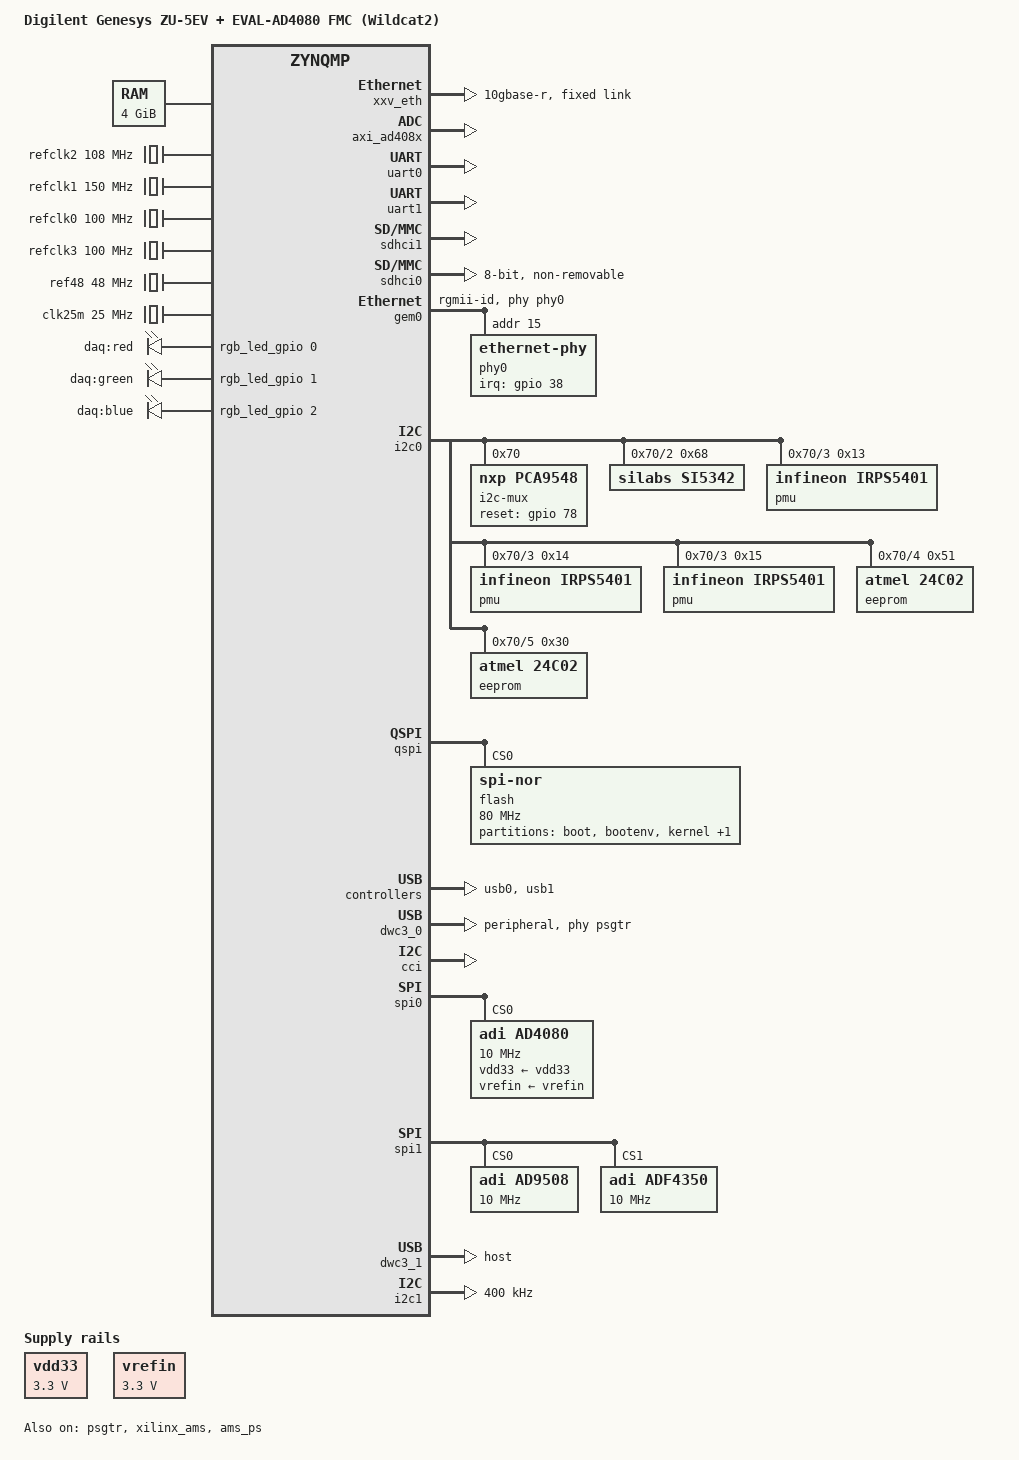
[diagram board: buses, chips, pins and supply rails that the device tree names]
// SPDX-License-Identifier: GPL-2.0
/*
 * Analog Devices AD4080 (EVAL-AD4080-FMC) on Digilent Genesys ZU-5EV
 * (Zynq UltraScale+ XCZU5EV). Wildcat2 board.
 * https://www.analog.com/en/products/ad4080.html
 * https://www.analog.com/eval-ad4080-fmc
 *
 * hdl_project: <ad4080_fmc_evb/genesys_zu5ev>  (local port, not in upstream ADI hdl)
 *
 * Derived from zynqmp-genesys-zu-5ev-ad7383-4.dts: the carrier + backhaul
 * (10G SFP+, USB, si5342, RGB LED, 30 MHz PS_REF_CLK, CCI) are reused; the ADC
 * datapath is the AD4080 LVDS capture (axi_ad408x IIO backend + axi_dmac),
 * controlled over PS SPI0, with the conversion clock from the eval AD9508/ADF4350.
 *
 * PL peripherals use the 0x80xxxxxx aperture (this carrier reaches the PL via
 * M_AXI_HPM0_LPD, whose window is 0x8000_0000..0x9FFF_FFFF). Must match the
 * ad4080_fmc_evb_genesys_zu5ev HDL system_bd.tcl.
 *
 * Copyright (C) 2026 Analog Devices Inc.
 */
/dts-v1/;

#include "zynqmp.dtsi"
#include "zynqmp-clk-ccf.dtsi"
#include <dt-bindings/interrupt-controller/irq.h>
#include <dt-bindings/gpio/gpio.h>
#include <dt-bindings/net/ti-dp83867.h>
#include <dt-bindings/phy/phy.h>

/ {
	model = "Digilent Genesys ZU-5EV + EVAL-AD4080 FMC (Wildcat2)";
	compatible = "digilent,genesys-zu-5ev", "xlnx,zynqmp";

	aliases {
		ethernet0 = &gem0;
		serial0 = &uart0;
		serial1 = &uart1;
		mmc0 = &sdhci0; /* eMMC */
		mmc1 = &sdhci1; /* microSD */
		spi0 = &qspi;
	};

	chosen {
		bootargs = "earlycon console=ttyPS0,115200 root=/dev/mmcblk1p2 rw rootwait cma=512M";
		stdout-path = "serial0:115200n8";
	};

	memory@0 {
		device_type = "memory";
		reg = <0x0 0x0 0x0 0x80000000>, <0x8 0x0 0x0 0x80000000>;
	};

	refclk2: psgtr_dp_clock {
		compatible = "fixed-clock";
		#clock-cells = <0x00>;
		clock-frequency = <108000000>;
	};
	refclk1: psgtr_sata_clock {
		compatible = "fixed-clock";
		#clock-cells = <0x00>;
		clock-frequency = <150000000>;
	};
	refclk0: psgtr_pcie_usb30_clock {
		compatible = "fixed-clock";
		#clock-cells = <0x00>;
		clock-frequency = <100000000>;
	};
	refclk3: psgtr_usb30_clock {
		compatible = "fixed-clock";
		#clock-cells = <0x00>;
		clock-frequency = <100000000>;
	};
	ref48: ref48M {
		compatible = "fixed-clock";
		#clock-cells = <0x00>;
		clock-frequency = <48000000>;
	};

	/* AD4080 supplies (from FMC rails). vdd33 + vrefin are the mandatory
	 * regulators in the ad4080 binding. */
	vdd33: ad4080-vdd33-regulator {
		compatible = "regulator-fixed";
		regulator-name = "AD4080 VDD33 (FMC +3.3V)";
		regulator-min-microvolt = <3300000>;
		regulator-max-microvolt = <3300000>;
		regulator-always-on;
	};

	vrefin: ad4080-vrefin-regulator {
		compatible = "regulator-fixed";
		regulator-name = "AD4080 VREFIN";
		regulator-min-microvolt = <3300000>;
		regulator-max-microvolt = <3300000>;
		regulator-always-on;
	};

	/* Y1 on the EVAL-AD4080-FMC: 25 MHz TCXO (ECS-TXO-2016-33-250, 2 ppm),
	 * gated by OSC_EN, which system_top.v ties to PWRGD so it comes up with the
	 * board. This is the ADF4350 reference. */
	clk25m: clk25m-tcxo {
		compatible = "fixed-clock";
		#clock-cells = <0>;
		clock-frequency = <25000000>;
		clock-output-names = "clk25m";
	};
};

&uart0 { status = "okay"; };
&uart1 { status = "okay"; };

&psgtr {
	status = "okay";
	clocks = <&refclk0>, <&refclk1>, <&refclk2>, <&refclk3>;
	clock-names = "ref0", "ref1", "ref2", "ref3";
};

&sdhci1 {
	status = "okay";
	disable-wp;
	no-1-8-v;
	xlnx,itap-delay-sd-hsd = <0x29>;
	xlnx,itap-delay-sd-ddr50 = <0x32>;
	xlnx,itap-delay-sdr25 = <0x2A>;
	xlnx,itap-delay-sdr50 = <0x1E>;
	xlnx,itap-delay-sdr104 = <0x0B>;
};

&sdhci0 {
	status = "okay";
	non-removable;
	bus-width = <8>;
};

&gem0 {
	status = "okay";
	phy-handle = <&phy0>;
	phy-mode = "rgmii-id";
	#address-cells = <1>;
	#size-cells = <0>;
	phy0: ethernet-phy@f {
		reg = <0xF>;
		reset-assert-us = <1>;
		reset-deassert-us = <200>;
		interrupt-parent = <&gpio>;
		interrupts = <38 IRQ_TYPE_LEVEL_LOW>;
		ti,rx-internal-delay = <DP83867_RGMIIDCTL_2_00_NS>;
		ti,tx-internal-delay = <DP83867_RGMIIDCTL_1_50_NS>;
		ti,fifo-depth = <DP83867_PHYCR_FIFO_DEPTH_4_B_NIB>;
		ti,clk-output-sel = <DP83867_CLK_O_SEL_REF_CLK>;
	};
};

&i2c0 {
	status = "okay";
	i2c-mux@70 {
		compatible = "nxp,pca9548";
		#address-cells = <1>;
		#size-cells = <0>;
		reg = <0x70>;
		reset-gpios = <&gpio 78 GPIO_ACTIVE_HIGH>;
		i2c-mux-idle-disconnect;

		i2c@0 { #address-cells = <1>; #size-cells = <0>; reg = <0>; };
		i2c@1 { #address-cells = <1>; #size-cells = <0>; reg = <1>; };
		i2c@2 {
			#address-cells = <1>;
			#size-cells = <0>;
			reg = <2>;
			/* Si5342 -> 156.25 MHz GT refclk for the 10G SFP+ */
			si5342: clock-generator@68 {
				compatible = "silabs,si5342";
				reg = <0x68>;
				#clock-cells = <2>;
				#address-cells = <1>;
				#size-cells = <0>;
				clocks = <&ref48>;
				clock-names = "xtal";
				silabs,iovdd-33;
				si5342_out0: out@0 { reg = <0>; always-on; };
				si5342_out1: out@1 { reg = <1>; always-on; };
			};
		};
		i2c@3 {
			#address-cells = <1>;
			#size-cells = <0>;
			reg = <3>;
			pmu@13 { compatible = "infineon,irps5401"; reg = <0x13>; };
			pmu@14 { compatible = "infineon,irps5401"; reg = <0x14>; };
			pmu@15 { compatible = "infineon,irps5401"; reg = <0x15>; };
		};
		i2c@4 {
			#address-cells = <1>;
			#size-cells = <0>;
			reg = <4>;
			eeprom@51 { /* FMC VITA 57.1 FRU */
				compatible = "atmel,24c02";
				reg = <0x51>;
				pagesize = <1>;
			};
		};
		i2c@5 {
			#address-cells = <1>;
			#size-cells = <0>;
			reg = <5>;
			eeprom@30 { /* SYZYGY DNA */
				compatible = "atmel,24c02";
				reg = <0x30>;
				read-only;
				address-width = <16>;
				size = <65536>;
			};
		};
		i2c@6 { #address-cells = <1>; #size-cells = <0>; reg = <6>; };
		i2c@7 { #address-cells = <1>; #size-cells = <0>; reg = <7>; };
	};
};

&qspi {
	status = "okay";
	flash@0 {
		compatible = "jedec,spi-nor";
		reg = <0>;
		spi-max-frequency = <80000000>;
		spi-tx-bus-width = <1>;
		spi-rx-bus-width = <1>;
		partitions {
			compatible = "fixed-partitions";
			#address-cells = <1>;
			#size-cells = <1>;
			partition@0 { label = "boot"; reg = <0x00000000 0x00100000>; };
			partition@1 { label = "bootenv"; reg = <0x00100000 0x00040000>; };
			partition@2 { label = "kernel"; reg = <0x00140000 0x01600000>; };
			partition@3 { label = "board-id"; reg = <0x1FFF000 0x1000>; read-only; };
		};
	};
};

&usb0 {
	status = "okay";
	xlnx,tz-nonsecure = <1>;
	xlnx,usb-polarity = <0>;
	xlnx,usb-reset-mode = <0>;
};

&dwc3_0 {
	status = "okay";
	dr_mode = "peripheral";
	snps,usb3_lpm_capable;
	phy-names = "usb3-phy";
	phys = <&psgtr 1 PHY_TYPE_USB3 0 0>;
	snps,dis_u2_susphy_quirk;
	snps,dis_u3_susphy_quirk;
	maximum-speed = "super-speed";
	tx-fifo-resize;
};

/* PL peripherals (ad4080_fmc_evb_genesys_zu5ev HDL project). 0x80xxxxxx = the
 * M_AXI_HPM0_LPD aperture on this carrier. Addresses match system_bd.tcl. */
/ {
	fpga_axi: fpga-axi@0 {
		interrupt-parent = <&gic>;
		compatible = "simple-bus";
		#address-cells = <0x1>;
		#size-cells = <0x1>;
		ranges = <0 0 0 0xffffffff>;

		/* 10G Ethernet over SFP+ : xxv_ethernet MAC + axi_mcdma (reused). */
		eth_mcdma: dma@80020000 {
			compatible = "xlnx,eth-dma";
			reg = <0x80020000 0x10000>;
			xlnx,addrwidth = <0x20>;
			xlnx,include-dre;
		};

		xxv_eth: ethernet@80060000 {
			compatible = "xlnx,xxv-ethernet-1.0";
			reg = <0x80060000 0x10000>;
			device_type = "network";
			axistream-connected = <&eth_mcdma>;
			xlnx,num-queues = /bits/ 16 <1>;
			xlnx,channel-ids = "1";
			interrupt-parent = <&gic>;
			interrupts = <0 106 IRQ_TYPE_LEVEL_HIGH>,
				     <0 107 IRQ_TYPE_LEVEL_HIGH>;
			interrupt-names = "mm2s_ch1_introut", "s2mm_ch1_introut";
			local-mac-address = [00 0a 35 05 a1 10];
			max-speed = <10000>;
			phy-mode = "10gbase-r";
			xlnx,rxmem = <0x6000>;
			xlnx,txcsum = <1>;
			xlnx,rxcsum = <0>;
			fixed-link {
				speed = <10000>;
				full-duplex;
			};
		};

		/* AD4080 RX DMA (axi_dmac). On S_AXI_HP0 (non-coherent), so NO
		 * dma-coherent here (unlike the 10G HPC0 path). */
		rx_dma: dma-controller@80000000 {
			compatible = "adi,axi-dmac-1.00.a";
			reg = <0x80000000 0x1000>;
			#dma-cells = <1>;
			interrupts = <0 109 IRQ_TYPE_LEVEL_HIGH>; /* ps-13 */
			clocks = <&zynqmp_clk 71>;
		};

		/* AD4080 capture IP = IIO backend (adi-axi-adc.c binds adi,axi-ad408x). */
		axi_ad408x: axi-adc@80010000 {
			compatible = "adi,axi-ad408x";
			reg = <0x80010000 0x10000>;
			dmas = <&rx_dma 0>;
			dma-names = "rx";
			clocks = <&zynqmp_clk 71>;
			#io-backend-cells = <0>;
		};

		/* clock monitor (DCO + 100 MHz ref) -- diagnostic. */
		ad4080_clock_monitor: clock-monitor@80050000 {
			compatible = "adi,axi-clock-monitor-1.00.a";
			reg = <0x80050000 0x10000>;
			clocks = <&zynqmp_clk 71>;
			clock-names = "s_axi_aclk";
		};

		rgb_led_gpio: gpio@80080000 {
			compatible = "xlnx,axi-gpio-2.0", "xlnx,xps-gpio-1.00.a";
			reg = <0x80080000 0x1000>;
			#gpio-cells = <2>;
			gpio-controller;
			xlnx,all-inputs = <0x0>;
			xlnx,all-outputs = <0x1>;
			xlnx,gpio-width = <0x3>;
			xlnx,is-dual = <0x0>;
			clocks = <&zynqmp_clk 71>;
		};
	};
};

/* PS_REF_CLK crystal is 30 MHz on this board. */
&pss_ref_clk {
	clock-frequency = <30000000>;
};

/* CCI-400 for the coherent HPC0 10G DMA path. */
&cci {
	status = "okay";
};

/*
 * PS SPI0 (EMIO) -> AD4080 register control on the FMC card. In the AD7383
 * design SPI0 carried the on-board MCP23S08 gpio-expander + WiFi; on Wildcat2
 * the HDL routes EMIO SPI0 to the FMC AD4080 instead, so those are removed here.
 * USB PHY/hub resets are programmed by the Digilent FSBL at boot (they were the
 * gpioexp hogs), so USB still enumerates; on-board WiFi (ATWINC1500) is unusable
 * on Linux anyway -- use a USB adapter.
 */
&spi0 {
	status = "okay";
	#address-cells = <1>;
	#size-cells = <0>;

	ad4080: adc@0 {
		compatible = "adi,ad4080";
		reg = <0>;
		spi-max-frequency = <10000000>;
		spi-cpol;
		spi-cpha;

		/* AD9508 OUT2 = CNV_P/N, 32.768 MHz (327.68 / 10) */
		clocks = <&ad9508 2>;
		clock-names = "cnv";

		io-backends = <&axi_ad408x>;

		adi,num-lanes = <2>;

		/* The eval board drives CNV differentially, from AD9508 OUT2 on
		 * CNV_P/CNV_N, but the AD4080 powers up with CNV in CMOS mode.
		 * This property is what makes the driver set LVDS_CNV_EN, program
		 * LVDS_CNV_CLK_CNT and -- critically -- run the lane alignment:
		 * all three sit behind the same guard, so without it the part
		 * ignores the differential CNV AND the lanes are never trained,
		 * with nothing in the logs pointing at the cause. */
		adi,lvds-cnv-enable;

		vdd33-supply = <&vdd33>;
		vrefin-supply = <&vrefin>;
	};
};

/*
 * PS SPI1 (EMIO) -> eval AD9508 clock fanout + ADF4350 PLL (the CNV clock
 * generator). Left disabled for initial bring-up (ad4080_cnv_clk is modelled as
 * a fixed-clock above). TODO: add adi,ad9508 + adi,adf4350 nodes and switch the
 * ad4080 "cnv" clock to the real AD9508 output once the clock chain is verified.
 */
/* EVAL-AD4080-FMC precision clock generation/distribution (schematic sheet 8),
 * on PS SPI1 via EMIO. Chip selects follow system_top.v:
 *   ad9508_csn  = spi1_csn[0]
 *   adf4350_csn = spi1_csn[1]
 * SCLK/MOSI/MISO are shared between the two devices.
 *
 * Chain: Y1 25 MHz TCXO -> ADF4350 RFOUTA+/- -> AD9508 CLK (differential input;
 * IN_SEL is tied high on the eval board) -> OUT0 FPGACLK to FMC CLK1_M2C,
 * OUT2 CNV (40 MHz max), OUT3 CLK (400 MHz max). OUT1 is unused.
 *
 * WildCat2 operating point:
 *   ADF4350 = 327.68 MHz EXACTLY. With a 25 MHz PFD and adi,channel-spacing of
 *   40 kHz the driver computes MOD = 25e6/40e3 = 625, giving INT 104, FRAC 536
 *   and an RF divider of 8: 25 MHz x (104 + 536/625) / 8 = 327.68 MHz with no
 *   frequency error, which the power-of-two FFT frame requires.
 *   AD9508 OUT3 /1  = 327.68 MHz  -> LVDS interface clock (20-bit single-lane
 *                                    DDR needs 10 x fS)
 *   AD9508 OUT2 /10 = 32.768 MHz  -> CNV
 *   AD4080 sinc5+comp at total decimation 8 -> 4.096 MSPS output.
 *
 * CLK and CNV leave the SAME device from matched integer dividers, so their
 * relative phase is deterministic and the +/-535 ps tCCA alignment is structural
 * rather than trimmed.
 *
 * NOTE the ADF4350 is a fractional-N synthesiser with an integrated VCO and is
 * NOT a low-jitter source; expect it to dominate SNR at 1.6 MHz. The eval board
 * provides an external-clock injection path (R65/R68, fitted DNI) for a proper
 * low-phase-noise source when that measurement is made.
 */
&spi1 {
	status = "okay";
	#address-cells = <1>;
	#size-cells = <0>;

	ad9508: clock-controller@0 {
		compatible = "adi,ad9508";
		reg = <0>;
		spi-max-frequency = <10000000>;
		#address-cells = <1>;
		#size-cells = <0>;
		#clock-cells = <1>;

		clocks = <&adf4350>;
		clock-names = "clkin";

		/* OUT0 -> FPGACLK_P/N to FMC CLK1_M2C; not used by this design. */
		channel@0 {
			reg = <0>;
			adi,channel-divider = <1>;
			adi,extended-name = "FPGACLK";
		};

		/* OUT2 -> CNV_P/N. 327.68 / 10 = 32.768 MHz (40 MHz max on this net). */
		channel@2 {
			reg = <2>;
			adi,channel-divider = <10>;
			adi,extended-name = "CNV";
		};

		/* OUT3 -> CLK_P/N. 327.68 MHz (400 MHz max on this net). */
		channel@3 {
			reg = <3>;
			adi,channel-divider = <1>;
			adi,extended-name = "CLK";
		};
	};

	adf4350: pll@1 {
		compatible = "adi,adf4350";
		reg = <1>;
		spi-max-frequency = <10000000>;
		#clock-cells = <0>;

		clocks = <&clk25m>;
		clock-names = "clkin";
		clock-output-names = "adf4350_rfout";

		/* MOD = fPFD / channel-spacing = 25 MHz / 40 kHz = 625. This is what
		 * makes 327.68 MHz land exactly; do not change it casually. */
		adi,channel-spacing = <40000>;
		adi,power-up-frequency = <327680000>;

		adi,phase-detector-polarity-positive-enable;
		adi,charge-pump-current = <2500>;
		adi,muxout-select = <6>;	/* digital lock detect, per schematic note */
		adi,mute-till-lock-enable;
	};
};

&gpio { status = "okay"; };

&usb1 { status = "okay"; };

&dwc3_1 {
	status = "okay";
	dr_mode = "host";
	maximum-speed = "high-speed";
	snps,dis_u2_susphy_quirk;
	snps,dis_u3_susphy_quirk;
};

/* AMS (ZynqMP System Monitor).
 * PS block = SoC die temperature + PS supply rails -> enabled.
 * PL block = left at its zynqmp.dtsi default of "disabled" ON PURPOSE: this
 * design instantiates no PL sysmon, and reading those channels faults ->
 * panic. That fault is why the whole AMS node used to be disabled; scoping
 * the disable to ams_pl recovers SoC temperature without the panic.
 */
&xilinx_ams {
	status = "okay";
};

&ams_ps {
	status = "okay";
};

&i2c1 {
	status = "okay";
	clock-frequency = <400000>;
};

/*
 * RGB status LED (LD5) on the dedicated AXI GPIO. daq-status-led.service:
 * red = booting, blue = iiod starting, green = safe for a PC libiio client.
 */
/ {
	leds {
		compatible = "gpio-leds";
		led-red {
			label = "daq:red";
			gpios = <&rgb_led_gpio 0 GPIO_ACTIVE_HIGH>;
			default-state = "on";
		};
		led-green {
			label = "daq:green";
			gpios = <&rgb_led_gpio 1 GPIO_ACTIVE_HIGH>;
			default-state = "off";
		};
		led-blue {
			label = "daq:blue";
			gpios = <&rgb_led_gpio 2 GPIO_ACTIVE_HIGH>;
			default-state = "off";
		};
	};
};
